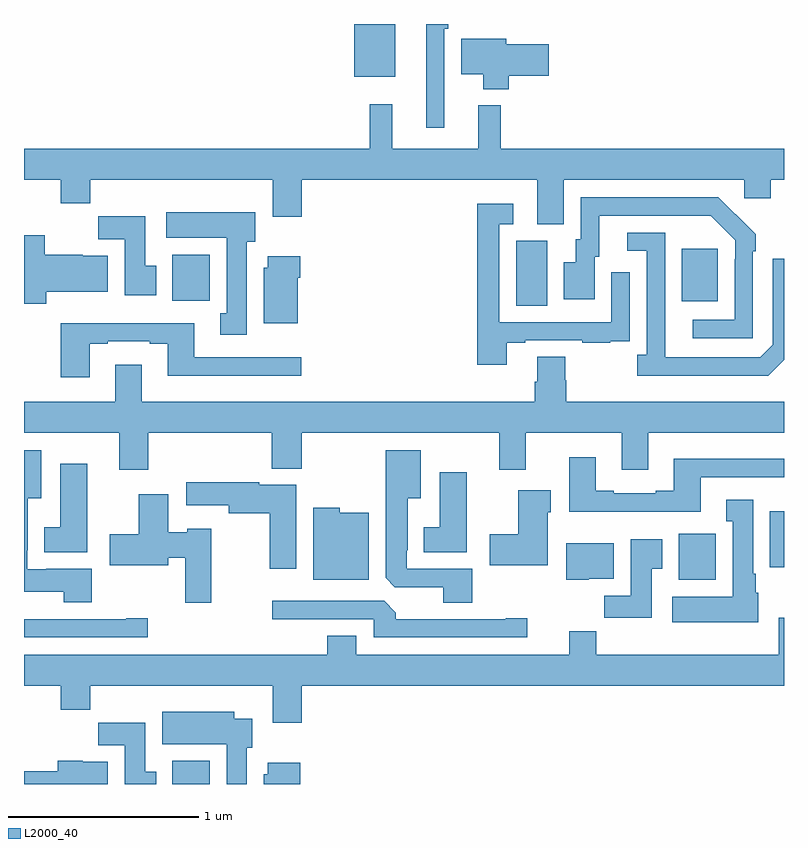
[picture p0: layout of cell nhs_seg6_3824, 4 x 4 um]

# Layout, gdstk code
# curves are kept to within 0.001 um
import gdstk
lib = gdstk.Library(unit=1e-6, precision=1e-09)
def R(c, l, rs):  # rectangles x0, y0, x1, y1
    for r in rs: c.add(gdstk.rectangle(r[:2], r[2:], *l))
def P(c, l, *ps):  # polygons
    for p in ps: c.add(gdstk.Polygon(p, *l))
L2000_40 = (2000, 40)

nhs_seg6_3824 = lib.new_cell('nhs_seg6_3824')
R(nhs_seg6_3824, L2000_40, [(337.781,933.5,337.977,933.622), (340.445,934.574,340.642,934.816), (340.925,934.64,341,934.936), (339.59,936.016,339.754,936.36), (340.463,936.041,340.651,936.316), (337.781,936.044,337.978,936.286), (338.738,937.223,338.953,937.5)])
P(nhs_seg6_3824, L2000_40, [(339.213,937.475),(339.233,937.475),(339.233,937.5),(339.116,937.5),(339.116,936.954),(339.213,936.954)],
  [(339.551,937.228),(339.763,937.228),(339.763,937.393),(339.538,937.393),(339.538,937.423),(339.302,937.423),(339.302,937.235),(339.416,937.235),(339.416,937.157),(339.551,937.157)],
  [(339.841,936.68),(340.791,936.68),(340.791,936.582),(340.93,936.582),(340.93,936.68),(341,936.68),(341,936.844),(339.509,936.844),(339.509,937.072),(339.392,937.072),(339.392,936.844),(338.939,936.844),(338.939,937.078),(338.821,937.078),(338.821,936.844),(337,936.844),(337,936.68),(337.193,936.68),(337.193,936.556),(337.349,936.556),(337.349,936.68),(338.309,936.68),(338.309,936.486),(338.462,936.486),(338.462,936.68),(339.701,936.68),(339.701,936.445),(339.841,936.445)],
  [(340.836,936.305),(340.851,936.305),(340.851,936.393),(340.654,936.588),(339.93,936.588),(339.93,936.366),(339.905,936.366),(339.905,936.247),(339.842,936.247),(339.842,936.051),(340.003,936.051),(340.003,936.276),(340.027,936.276),(340.027,936.492),(340.615,936.492),(340.743,936.363),(340.743,936.263),(340.74,936.263),(340.74,935.943),(340.521,935.943),(340.521,935.847),(340.836,935.847)],
  [(339.541,935.823),(339.637,935.823),(339.637,935.835),(339.937,935.835),(339.937,935.823),(340.085,935.823),(340.085,935.829),(340.187,935.829),(340.187,935.938),(340.188,935.938),(340.188,936.193),(340.092,936.193),(340.092,935.931),(339.501,935.931),(339.501,936.447),(339.574,936.447),(339.574,936.553),(339.385,936.553),(339.385,935.706),(339.541,935.706)],
  [(338.173,936.354),(338.218,936.354),(338.218,936.508),(337.749,936.508),(337.749,936.374),(338.066,936.374),(338.066,935.978),(338.033,935.978),(338.033,935.865),(338.173,935.865)],
  [(337.696,936.228),(337.639,936.228),(337.639,936.487),(337.39,936.487),(337.39,936.368),(337.529,936.368),(337.529,936.072),(337.696,936.072)],
  [(341,935.732),(341,936.265),(340.941,936.265),(340.941,935.811),(340.875,935.745),(340.375,935.745),(340.374,936.402),(340.176,936.402),(340.176,936.306),(340.278,936.306),(340.278,935.758),(340.227,935.758),(340.227,935.648),(340.916,935.648)],
  [(337.116,936.092),(337.441,936.092),(337.441,936.28),(337.308,936.28),(337.308,936.286),(337.108,936.286),(337.108,936.388),(337,936.388),(337,936.027),(337.116,936.027)],
  [(338.44,936.164),(338.453,936.164),(338.453,936.277),(338.282,936.277),(338.282,936.216),(338.261,936.216),(338.261,935.924),(338.44,935.924)],
  [(337.345,935.817),(337.441,935.817),(337.441,935.829),(337.661,935.829),(337.661,935.817),(337.757,935.817),(337.757,935.648),(338.458,935.648),(338.458,935.745),(337.897,935.745),(337.897,935.926),(337.193,935.926),(337.193,935.64),(337.345,935.64)],
  [(337.655,935.348),(338.303,935.348),(338.303,935.159),(338.463,935.159),(338.463,935.348),(339.5,935.348),(339.5,935.154),(339.64,935.154),(339.64,935.348),(340.145,935.348),(340.145,935.154),(340.285,935.154),(340.285,935.348),(341,935.348),(341,935.512),(339.854,935.512),(339.854,935.625),(339.849,935.625),(339.849,935.75),(339.701,935.75),(339.701,935.618),(339.689,935.618),(339.689,935.512),(337.621,935.512),(337.621,935.707),(337.481,935.707),(337.481,935.512),(337,935.512),(337,935.348),(337.502,935.348),(337.502,935.154),(337.655,935.154)],
  [(339.359,934.632),(339.015,934.632),(339.015,934.729),(339.019,934.729),(339.019,935.003),(339.088,935.003),(339.088,935.257),(338.903,935.257),(338.903,934.585),(338.952,934.536),(339.206,934.536),(339.206,934.453),(339.359,934.453)],
  [(337.357,934.633),(337.117,934.633),(337.117,934.629),(337.017,934.629),(337.017,934.729),(337.021,934.729),(337.021,935.003),(337.09,935.003),(337.09,935.257),(337,935.257),(337,934.512),(337.208,934.512),(337.208,934.457),(337.357,934.457)],
  [(340.561,935.115),(341,935.115),(341,935.212),(340.421,935.212),(340.421,935.044),(340.325,935.044),(340.325,935.031),(340.105,935.031),(340.105,935.044),(340.009,935.044),(340.009,935.221),(339.869,935.221),(339.869,934.934),(340.561,934.934)],
  [(337.333,935.185),(337.19,935.185),(337.19,934.852),(337.106,934.852),(337.106,934.721),(337.333,934.721)],
  [(339.331,935.14),(339.188,935.14),(339.188,934.852),(339.104,934.852),(339.104,934.721),(339.331,934.721)],
  [(338.434,935.074),(338.238,935.074),(338.238,935.089),(337.854,935.089),(337.854,934.967),(338.078,934.967),(338.078,934.925),(338.293,934.925),(338.293,934.632),(338.434,934.632)],
  [(339.757,934.929),(339.772,934.929),(339.772,935.047),(339.602,935.047),(339.602,934.815),(339.45,934.815),(339.45,934.652),(339.757,934.652)],
  [(337.986,934.843),(337.86,934.843),(337.86,934.825),(337.759,934.825),(337.759,935.026),(337.604,935.026),(337.604,934.815),(337.452,934.815),(337.452,934.652),(337.759,934.652),(337.759,934.691),(337.849,934.691),(337.849,934.455),(337.986,934.455)],
  [(340.864,934.506),(340.852,934.506),(340.852,934.606),(340.837,934.606),(340.837,934.996),(340.697,934.996),(340.697,934.883),(340.73,934.883),(340.73,934.486),(340.413,934.486),(340.413,934.352),(340.864,934.352)],
  [(338.815,934.927),(338.661,934.927),(338.661,934.954),(338.522,934.954),(338.522,934.574),(338.815,934.574)],
  [(340.303,934.633),(340.36,934.633),(340.36,934.789),(340.193,934.789),(340.193,934.492),(340.054,934.492),(340.054,934.374),(340.303,934.374)],
  [(339.972,934.58),(340.105,934.58),(340.105,934.768),(339.854,934.768),(339.854,934.574),(339.972,934.574)],
  [(339.649,934.373),(339.536,934.373),(339.536,934.368),(338.957,934.368),(338.957,934.402),(338.895,934.464),(338.307,934.464),(338.307,934.368),(338.841,934.368),(338.841,934.272),(339.649,934.272)],
  [(338.462,934.016),(341,934.016),(341,934.375),(340.973,934.375),(340.973,934.18),(340.013,934.18),(340.013,934.304),(339.869,934.304),(339.869,934.18),(338.749,934.18),(338.749,934.279),(338.597,934.279),(338.597,934.18),(337,934.18),(337,934.016),(337.193,934.016),(337.193,933.892),(337.349,933.892),(337.349,934.016),(338.309,934.016),(338.309,933.822),(338.462,933.822)],
  [(337.651,934.373),(337.538,934.373),(337.538,934.368),(337,934.368),(337,934.272),(337.651,934.272)],
  [(338.173,933.69),(338.2,933.69),(338.2,933.844),(338.107,933.844),(338.107,933.88),(337.727,933.88),(337.727,933.71),(338.066,933.71),(338.066,933.5),(338.173,933.5)],
  [(337.696,933.564),(337.639,933.564),(337.639,933.822),(337.39,933.822),(337.39,933.704),(337.529,933.704),(337.529,933.5),(337.696,933.5)],
  [(337.441,933.616),(337.308,933.616),(337.308,933.622),(337.178,933.622),(337.178,933.568),(337,933.568),(337,933.5),(337.441,933.5)],
  [(338.453,933.613),(338.282,933.613),(338.282,933.552),(338.261,933.552),(338.261,933.5),(338.453,933.5)])

lib.write_gds('nhs_seg6_3824.gds')
